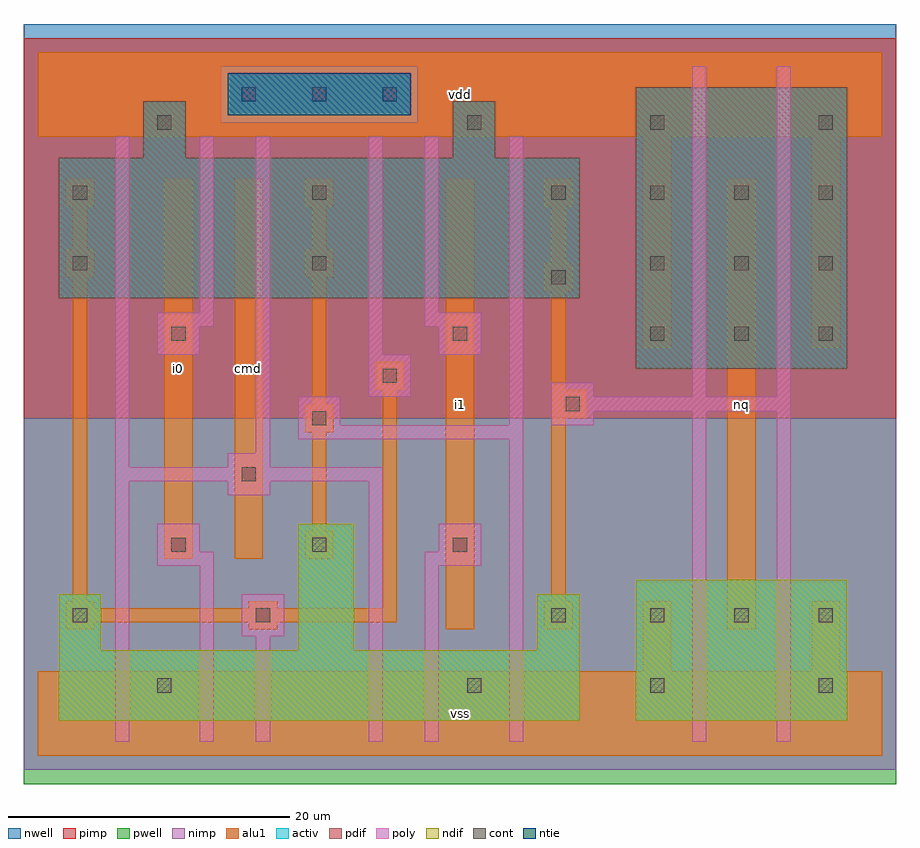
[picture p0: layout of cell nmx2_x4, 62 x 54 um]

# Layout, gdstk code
import gdstk
lib = gdstk.Library(unit=1e-6, precision=1e-09)
def R(c, l, rs):  # rectangles x0, y0, x1, y1
    for r in rs: c.add(gdstk.rectangle(r[:2], r[2:], *l))
def A(c, l, x, y, w, h, nx, ny, dx, dy):  # array of equal rectangles
    R(c, l, [(x+i*dx, y+j*dy, x+i*dx+w, y+j*dy+h) for i in range(nx) for j in range(ny)])
ndif = (3, 0)
pdif = (4, 0)
ntie = (5, 0)
cont = (25, 0)
pwell = (41, 0)
nwell = (42, 0)
activ = (43, 0)
pimp = (44, 0)
nimp = (45, 0)
poly = (46, 0)
alu1 = (49, 0)

nmx2_x4 = lib.new_cell('nmx2_x4')
R(nmx2_x4, ndif, [(1.5,2.5,38.5,7.5), (42.5,2.5,57.5,12.5), (1.5,7.5,4.5,11.5), (18.5,7.5,22.5,16.5), (35.5,7.5,38.5,11.5)])
R(nmx2_x4, pdif, [(42.5,27.5,57.5,47.5), (1.5,32.5,38.5,42.5), (7.5,42.5,10.5,46.5), (29.5,42.5,32.5,46.5)])
R(nmx2_x4, ntie, [(13.5,45.5,26.5,48.5)])
A(nmx2_x4, cont, 43.5, 9.5, 1, 1, 3, 2, 6, 20)
A(nmx2_x4, cont, 9.5, 14.5, 1, 1, 3, 1, 10, 0)
A(nmx2_x4, cont, 43.5, 34.5, 1, 1, 3, 2, 6, 5)
A(nmx2_x4, cont, 2.5, 39.5, 1, 1, 3, 1, 17, 0)
A(nmx2_x4, cont, 14.5, 46.5, 1, 1, 3, 1, 5, 0)
R(nmx2_x4, cont, [(8.5,4.5,9.5,5.5), (30.5,4.5,31.5,5.5), (43.5,4.5,44.5,5.5), (55.5,4.5,56.5,5.5), (2.5,9.5,3.5,10.5), (15.5,9.5,16.5,10.5), (36.5,9.5,37.5,10.5), (14.5,19.5,15.5,20.5), (19.5,23.5,20.5,24.5), (37.5,24.5,38.5,25.5), (24.5,26.5,25.5,27.5), (9.5,29.5,10.5,30.5), (29.5,29.5,30.5,30.5), (36.5,33.5,37.5,34.5), (2.5,34.5,3.5,35.5), (19.5,34.5,20.5,35.5), (8.5,44.5,9.5,45.5), (30.5,44.5,31.5,45.5), (43.5,44.5,44.5,45.5), (55.5,44.5,56.5,45.5)])
R(nmx2_x4, pwell, [(-1,-2,61,24)])
R(nmx2_x4, nwell, [(-1,24,61,52)])
R(nmx2_x4, activ, [(1.5,2.5,38.5,7.5), (42.5,2.5,57.5,12.5), (1.5,7.5,4.5,11.5), (18.5,7.5,22.5,16.5), (35.5,7.5,38.5,11.5), (42.5,27.5,57.5,47.5), (1.5,32.5,38.5,42.5), (7.5,42.5,10.5,46.5), (29.5,42.5,32.5,46.5), (13.5,45.5,26.5,48.5)])
R(nmx2_x4, pimp, [(-1,24,61,45), (-1,45,13,49), (27,45,61,49), (-1,49,61,51)])
R(nmx2_x4, nimp, [(-1,-1,61,24), (13,45,27,49)])
R(nmx2_x4, poly, [(5.5,1,6.5,19.5), (11.5,1,12.5,13.5), (15.5,1,16.5,8.5), (23.5,1,24.5,19.5), (27.5,1,28.5,13.5), (33.5,1,34.5,22.5), (46.5,1,47.5,24.5), (52.5,1,53.5,24.5), (14.5,8.5,17.5,11.5), (8.5,13.5,12.5,14.5), (27.5,13.5,31.5,14.5), (8.5,14.5,11.5,16.5), (28.5,14.5,31.5,16.5), (13.5,18.5,16.5,19.5), (5.5,19.5,24.5,20.5), (5.5,20.5,6.5,44), (13.5,20.5,16.5,21.5), (15.5,21.5,16.5,44), (18.5,22.5,34.5,23.5), (18.5,23.5,21.5,25.5), (33.5,23.5,34.5,44), (36.5,23.5,39.5,24.5), (36.5,24.5,53.5,25.5), (23.5,25.5,26.5,28.5), (36.5,25.5,39.5,26.5), (46.5,25.5,47.5,49), (52.5,25.5,53.5,49), (8.5,28.5,11.5,30.5), (23.5,28.5,24.5,44), (28.5,28.5,31.5,30.5), (8.5,30.5,12.5,31.5), (27.5,30.5,31.5,31.5), (11.5,31.5,12.5,44), (27.5,31.5,28.5,44)])
A(nmx2_x4, alu1, 2, 39, 2, 2, 3, 1, 17, 0)
R(nmx2_x4, alu1, [(0,0,60,6), (43,6,45,11), (55,6,57,11), (2,9,4,9.5), (15,9,17,9.5), (29,9,31,41), (36,9,38,11), (49,9,51,41), (2,9.5,25.5,10.5), (2,10.5,4,11), (15,10.5,17,11), (24.5,10.5,25.5,26), (2.5,11,3.5,34), (36.5,11,37.5,24), (9,14,11,41), (14,14,16,41), (19,14,21,16), (19.5,16,20.5,23), (19,23,21,25), (36.5,24,39,26), (19.5,25,20.5,34), (24,26,26,28), (36.5,26,37.5,33), (43,29,45,44), (55,29,57,44), (36,33,38,35), (2,34,4,36), (19,34,21,36), (36.5,35,37.5,39), (2.5,36,3.5,39), (19.5,36,20.5,39), (0,44,60,50)])
nmx2_x4.add(gdstk.Label('i0', (10,27.5), layer=49, texttype=0))
nmx2_x4.add(gdstk.Label('cmd', (15,27.5), layer=49, texttype=0))
nmx2_x4.add(gdstk.Label('vss', (30,3), layer=49, texttype=0))
nmx2_x4.add(gdstk.Label('i1', (30,25), layer=49, texttype=0))
nmx2_x4.add(gdstk.Label('vdd', (30,47), layer=49, texttype=0))
nmx2_x4.add(gdstk.Label('nq', (50,25), layer=49, texttype=0))

lib.write_gds('nmx2_x4.gds')
